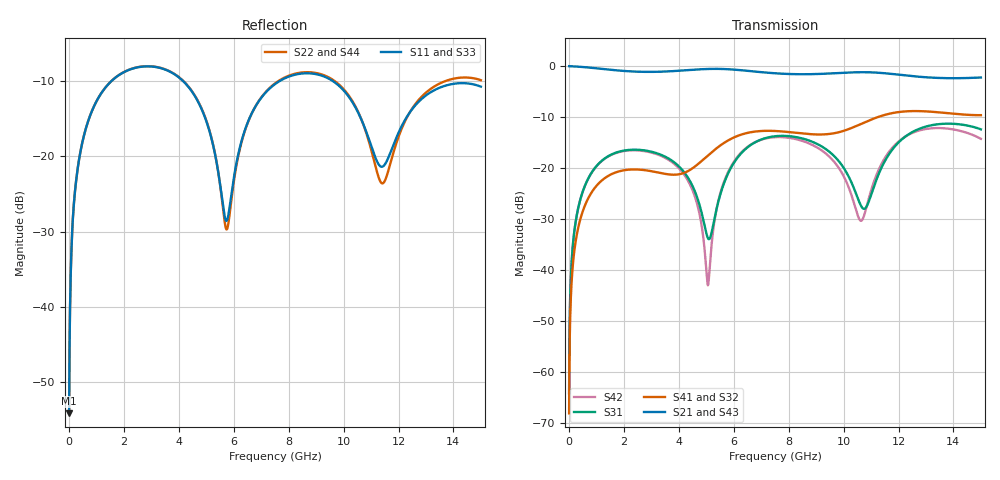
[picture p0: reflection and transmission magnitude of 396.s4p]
! Created with skrf 1.8.0 (http://scikit-rf.org).
# GHz S RI R 50.0
!freq ReS11 ImS11 ReS12 ImS12 ReS13 ImS13
! ReS14 ImS14
! ReS21 ImS21 ReS22 ImS22 ReS23 ImS23
! ReS24 ImS24
! ReS31 ImS31 ReS32 ImS32 ReS33 ImS33
! ReS34 ImS34
! ReS41 ImS41 ReS42 ImS42 ReS43 ImS43
! ReS44 ImS44
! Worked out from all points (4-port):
!   2499 points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, 5 MHz to 15 GHz, reference 50 ohm
!   strongest paths, dB at 5 MHz, 3.476 GHz, 7.19 GHz, 11.1 GHz, 15 GHz:
!     S21: 0.0, -1.1, -1.3, -1.3, -2.2
!     S43: 0.0, -1.1, -1.3, -1.3, -2.2
!     S41: -68.1, -21.1, -12.7, -10.3, -9.6
!     S32: -68.1, -21.1, -12.7, -10.3, -9.6
!     S31: -64.2, -17.7, -14.1, -23.7, -12.4
!     S42: -64.2, -17.9, -14.2, -22.8, -14.3
!   lowest |S11| = -54.1 dB at 5 MHz (marker M1), VSWR 1.00, Z = 50.2 + j0.12 ohm
!   |S11| at or under -10 dB: start of sweep to 1.552 GHz; 4.15 GHz to 7.677 GHz (3.526 GHz wide, 59.6 % of centre); 9.603 GHz to end of sweep
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0.005  0.00157 0.00119  0.9984 -0.00305  7.82e-05 0.000611  -7.6e-05 -0.000384
       0.9984 -0.00305  0.00157 0.00119  -7.6e-05 -0.000384  7.81e-05 0.000611
       7.82e-05 0.000611  -7.6e-05 -0.000384  0.00157 0.00119  0.9984 -0.00305
       -7.6e-05 -0.000384  7.81e-05 0.000611  0.9984 -0.00305  0.00157 0.00119
0.3126303  0.0222 0.0788  0.9697 -0.1902  0.0101 0.0364  -0.00833 -0.0227
           0.9697 -0.1902  0.0223 0.0788  -0.00833 -0.0227  0.00986 0.0365
           0.0101 0.0364  -0.00833 -0.0227  0.0222 0.0788  0.9697 -0.1902
           -0.00833 -0.0227  0.00986 0.0365  0.9697 -0.1902  0.0223 0.0788
1.469362  0.2403 0.189  0.6117 -0.6907  0.1152 0.0654  -0.0833 -0.0162
          0.6117 -0.6907  0.2412 0.1884  -0.0834 -0.0162  0.1122 0.0688
          0.1152 0.0654  -0.0834 -0.0162  0.2403 0.189  0.6117 -0.6907
          -0.0833 -0.0162  0.1122 0.0688  0.6117 -0.6907  0.2413 0.1884
5.058358  0.0861 -0.1338  -0.8424 -0.4104  -0.0183 -0.00938  -0.0545 0.121
          -0.8424 -0.4104  0.0822 -0.1379  -0.0542 0.1211  -0.00669 -0.00224
          -0.0183 -0.00938  -0.0542 0.1211  0.0866 -0.1341  -0.8424 -0.4103
          -0.0545 0.121  -0.00669 -0.00224  -0.8424 -0.4103  0.0822 -0.1385
8.972489  0.3483 -0.0473  0.0401 0.8344  0.1446 -0.0997  0.1999 -0.0753
          0.0401 0.8344  0.353 -0.0583  0.1995 -0.0757  0.1443 -0.075
          0.1446 -0.0997  0.1995 -0.0757  0.3504 -0.0503  0.0408 0.8333
          0.1999 -0.0753  0.1443 -0.075  0.0408 0.8333  0.3557 -0.0564
11.59858  0.0921 0.0235  0.8441 0.0615  0.0196 0.128  0.0103 -0.3373
          0.8441 0.0615  0.0727 0.0247  0.0101 -0.3382  0.012 0.1367
          0.0196 0.128  0.0101 -0.3382  0.0867 0.0186  0.8441 0.0612
          0.0103 -0.3373  0.012 0.1367  0.8441 0.0612  0.079 0.0205
15  0.2787 -0.0794  -0.0494 -0.7714  0.1751 -0.1636  -0.3149 0.099
    -0.0494 -0.7714  0.3025 -0.1043  -0.3156 0.1021  0.1708 -0.0908
    0.1751 -0.1636  -0.3156 0.1021  0.2799 -0.0767  -0.0527 -0.7703
    -0.3149 0.099  0.1708 -0.0908  -0.0527 -0.7703  0.3048 -0.1106
